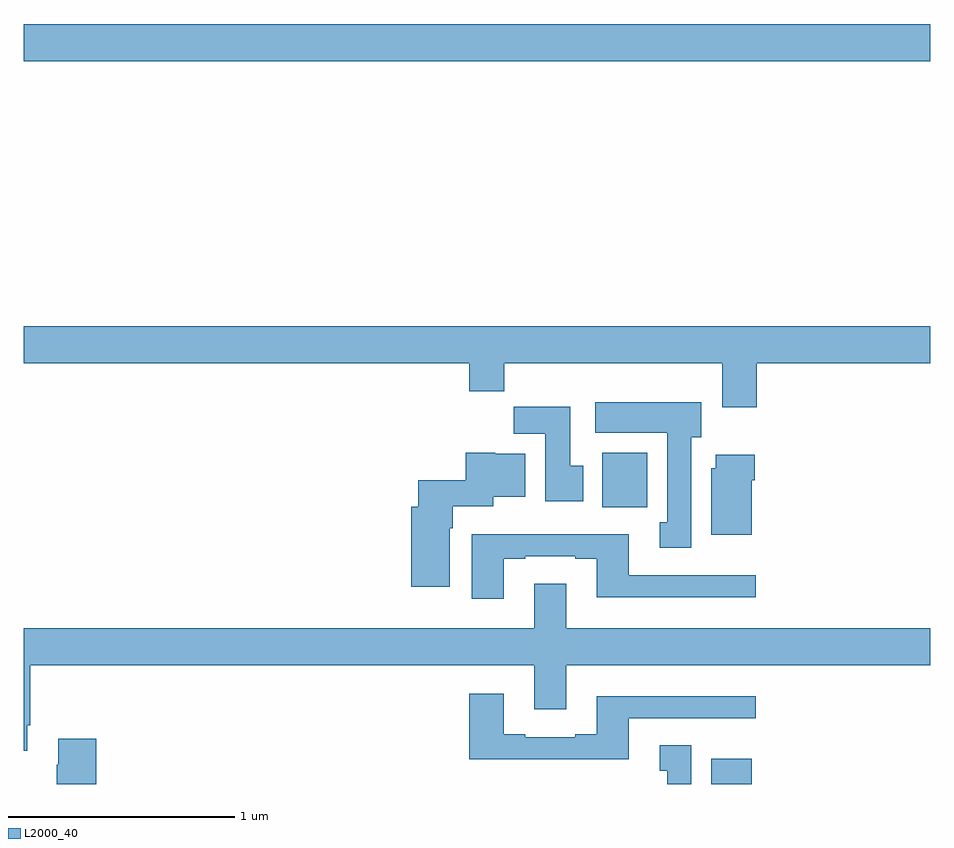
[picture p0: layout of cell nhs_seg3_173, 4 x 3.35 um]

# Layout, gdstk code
import gdstk
lib = gdstk.Library(unit=1e-6, precision=1e-09)
def R(c, l, rs):  # rectangles x0, y0, x1, y1
    for r in rs: c.add(gdstk.rectangle(r[:2], r[2:], *l))
def P(c, l, *ps):  # polygons
    for p in ps: c.add(gdstk.Polygon(p, *l))
L2000_40 = (2000, 40)

nhs_seg3_173 = lib.new_cell('nhs_seg3_173')
R(nhs_seg3_173, L2000_40, [(122.033,692.4,122.212,692.512), (121.553,693.62,121.75,693.862), (119,695.588,123,695.752)])
P(nhs_seg3_173, L2000_40, [(122.234,694.256),(123,694.256),(123,694.42),(119,694.42),(119,694.256),(120.965,694.256),(120.965,694.132),(121.121,694.132),(121.121,694.256),(122.081,694.256),(122.081,694.062),(122.234,694.062)],
  [(121.945,693.93),(121.99,693.93),(121.99,694.084),(121.521,694.084),(121.521,693.95),(121.838,693.95),(121.838,693.554),(121.805,693.554),(121.805,693.441),(121.945,693.441)],
  [(121.468,693.804),(121.411,693.804),(121.411,694.063),(121.162,694.063),(121.162,693.944),(121.301,693.944),(121.301,693.648),(121.468,693.648)],
  [(120.88,693.527),(120.893,693.527),(120.893,693.624),(121.072,693.624),(121.072,693.668),(121.213,693.668),(121.213,693.856),(121.08,693.856),(121.08,693.862),(120.95,693.862),(120.95,693.74),(120.74,693.74),(120.74,693.622),(120.71,693.622),(120.71,693.27),(120.88,693.27)],
  [(122.212,693.74),(122.225,693.74),(122.225,693.853),(122.054,693.853),(122.054,693.792),(122.033,693.792),(122.033,693.5),(122.212,693.5)],
  [(121.117,693.393),(121.213,693.393),(121.213,693.405),(121.433,693.405),(121.433,693.393),(121.529,693.393),(121.529,693.224),(122.23,693.224),(122.23,693.321),(121.669,693.321),(121.669,693.502),(120.977,693.502),(120.977,693.216),(121.117,693.216)],
  [(119.017,692.659),(119.03,692.659),(119.03,692.924),(121.253,692.924),(121.253,692.73),(121.393,692.73),(121.393,692.924),(123,692.924),(123,693.088),(121.393,693.088),(121.393,693.283),(121.253,693.283),(121.253,693.088),(119,693.088),(119,692.547),(119.017,692.547)],
  [(121.669,692.691),(122.23,692.691),(122.23,692.788),(121.529,692.788),(121.529,692.62),(121.433,692.62),(121.433,692.607),(121.213,692.607),(121.213,692.62),(121.117,692.62),(121.117,692.797),(120.965,692.797),(120.965,692.51),(121.669,692.51)],
  [(119.321,692.599),(119.153,692.599),(119.153,692.486),(119.146,692.486),(119.146,692.4),(119.321,692.4)],
  [(121.945,692.572),(121.805,692.572),(121.805,692.459),(121.838,692.459),(121.838,692.4),(121.945,692.4)])

lib.write_gds('nhs_seg3_173.gds')
